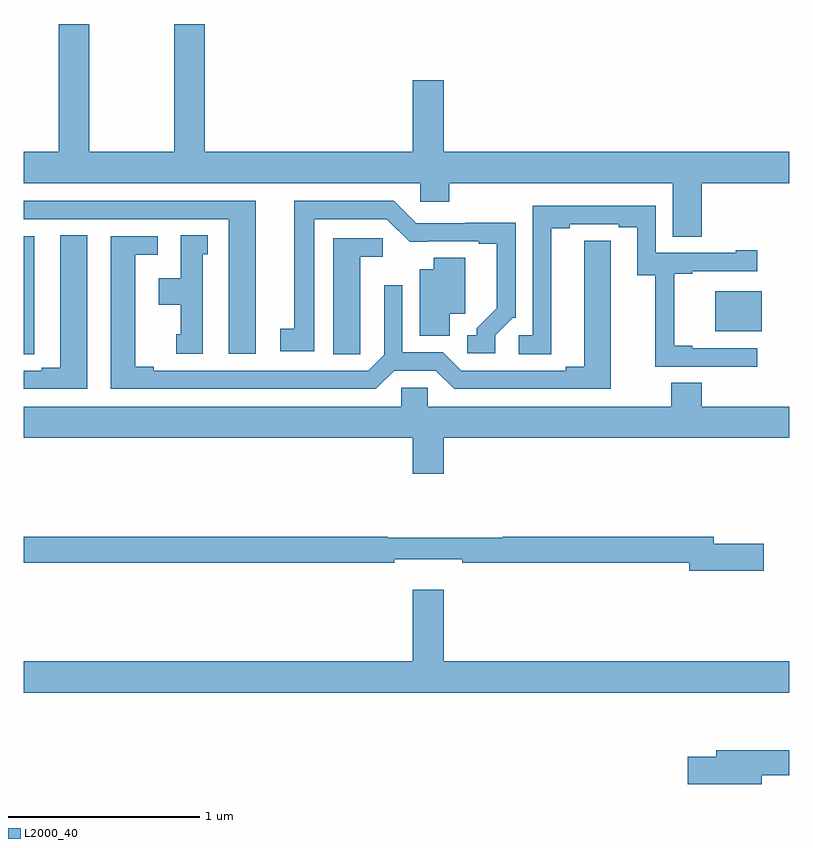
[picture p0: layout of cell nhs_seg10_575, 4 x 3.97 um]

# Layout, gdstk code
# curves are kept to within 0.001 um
import gdstk
lib = gdstk.Library(unit=1e-6, precision=1e-09)
def R(c, l, rs):  # rectangles x0, y0, x1, y1
    for r in rs: c.add(gdstk.rectangle(r[:2], r[2:], *l))
def P(c, l, *ps):  # polygons
    for p in ps: c.add(gdstk.Polygon(p, *l))
L2000_40 = (2000, 40)

nhs_seg10_575 = lib.new_cell('nhs_seg10_575')
R(nhs_seg10_575, L2000_40, [(142.613,1280.894,142.858,1281.103)])
P(nhs_seg10_575, L2000_40, [(142.544,1281.668),(143,1281.668),(143,1281.832),(141.196,1281.832),(141.196,1282.207),(141.032,1282.207),(141.032,1281.832),(139.946,1281.832),(139.946,1282.5),(139.786,1282.5),(139.786,1281.832),(139.341,1281.832),(139.341,1282.5),(139.181,1282.5),(139.181,1281.832),(139,1281.832),(139,1281.668),(141.072,1281.668),(141.072,1281.57),(141.224,1281.57),(141.224,1281.668),(142.391,1281.668),(142.391,1281.388),(142.544,1281.388)],
  [(140.212,1281.576),(139,1281.576),(139,1281.48),(140.072,1281.48),(140.072,1280.775),(140.212,1280.775)],
  [(141.465,1280.874),(141.555,1280.964),(141.57,1280.964),(141.57,1281.461),(141.307,1281.461),(141.307,1281.459),(141.051,1281.459),(140.934,1281.576),(140.414,1281.576),(140.414,1280.906),(140.34,1280.906),(140.34,1280.79),(140.518,1280.79),(140.518,1281.48),(140.898,1281.48),(141.016,1281.362),(141.377,1281.363),(141.377,1281.351),(141.473,1281.351),(141.473,1281.014),(141.368,1280.909),(141.368,1280.874),(141.318,1280.874),(141.318,1280.778),(141.465,1280.778)],
  [(142.834,1280.805),(142.495,1280.805),(142.495,1280.818),(142.4,1280.818),(142.4,1281.195),(142.495,1281.195),(142.495,1281.207),(142.834,1281.207),(142.834,1281.316),(142.721,1281.316),(142.721,1281.303),(142.302,1281.303),(142.302,1281.549),(141.66,1281.549),(141.66,1280.874),(141.588,1280.874),(141.588,1280.773),(141.757,1280.773),(141.757,1281.433),(141.853,1281.433),(141.853,1281.453),(142.109,1281.453),(142.109,1281.438),(142.205,1281.438),(142.205,1281.187),(142.3,1281.187),(142.3,1280.709),(142.834,1280.709)],
  [(139.33,1281.395),(139.19,1281.395),(139.19,1280.703),(139.094,1280.703),(139.094,1280.688),(139,1280.688),(139,1280.592),(139.33,1280.592)],
  [(139.936,1281.297),(139.96,1281.297),(139.96,1281.395),(139.82,1281.395),(139.82,1281.172),(139.706,1281.172),(139.706,1281.032),(139.82,1281.032),(139.82,1280.877),(139.796,1280.877),(139.796,1280.775),(139.936,1280.775)],
  [(139.053,1280.881),(139.054,1280.881),(139.054,1281.391),(139,1281.391),(139,1280.773),(139.053,1280.773)],
  [(140.935,1280.688),(141.153,1280.688),(141.249,1280.592),(142.069,1280.592),(142.068,1281.368),(141.929,1281.368),(141.929,1280.708),(141.833,1280.708),(141.833,1280.688),(141.285,1280.688),(141.189,1280.784),(140.979,1280.784),(140.979,1281.133),(140.883,1281.133),(140.883,1280.772),(140.799,1280.688),(139.678,1280.688),(139.678,1280.708),(139.582,1280.708),(139.582,1281.294),(139.699,1281.294),(139.699,1281.39),(139.454,1281.39),(139.454,1280.592),(140.839,1280.592)],
  [(140.757,1280.881),(140.758,1280.881),(140.758,1281.284),(140.875,1281.284),(140.875,1281.381),(140.618,1281.381),(140.618,1280.773),(140.757,1280.773)],
  [(141.226,1280.984),(141.307,1280.984),(141.307,1281.278),(141.143,1281.278),(141.143,1281.217),(141.068,1281.217),(141.068,1280.869),(141.226,1280.869)],
  [(141.196,1280.336),(143,1280.336),(143,1280.5),(142.544,1280.5),(142.544,1280.624),(142.384,1280.624),(142.384,1280.5),(141.111,1280.5),(141.111,1280.598),(140.973,1280.598),(140.973,1280.5),(139,1280.5),(139,1280.336),(141.032,1280.336),(141.032,1280.148),(141.196,1280.148)],
  [(142.867,1279.784),(142.606,1279.784),(142.606,1279.82),(141.502,1279.82),(141.502,1279.813),(140.902,1279.813),(140.902,1279.82),(139,1279.82),(139,1279.684),(140.936,1279.684),(140.936,1279.703),(141.292,1279.703),(141.292,1279.684),(142.478,1279.684),(142.478,1279.642),(142.867,1279.642)],
  [(143,1279.168),(141.196,1279.168),(141.196,1279.543),(141.032,1279.543),(141.032,1279.168),(139,1279.168),(139,1279.004),(143,1279.004)],
  [(142.858,1278.574),(143,1278.574),(143,1278.703),(142.619,1278.703),(142.619,1278.669),(142.47,1278.669),(142.47,1278.527),(142.858,1278.527)])

lib.write_gds('nhs_seg10_575.gds')
